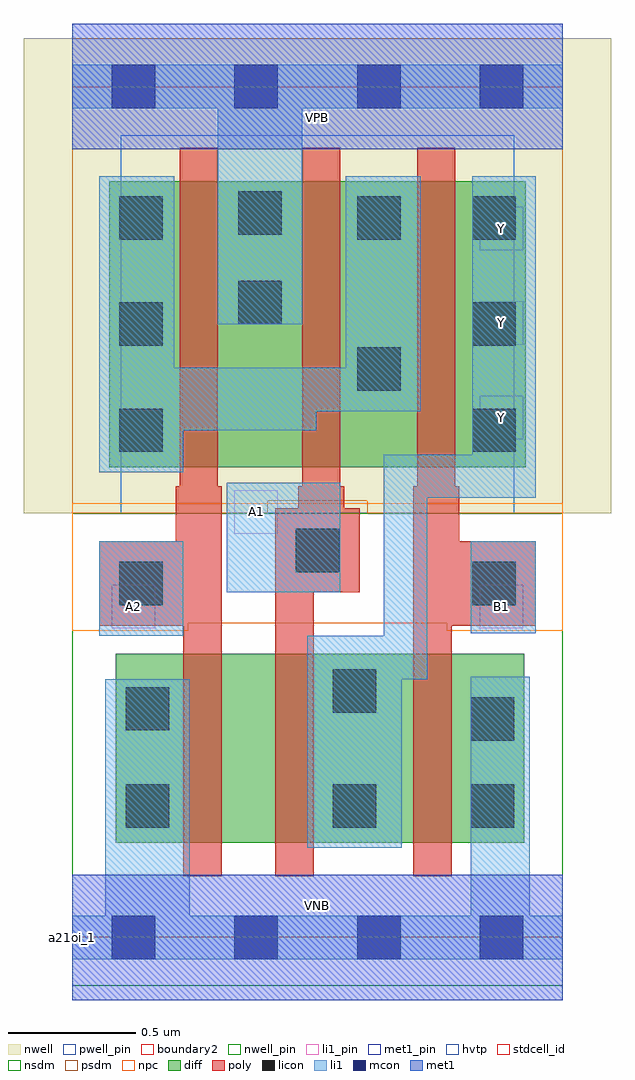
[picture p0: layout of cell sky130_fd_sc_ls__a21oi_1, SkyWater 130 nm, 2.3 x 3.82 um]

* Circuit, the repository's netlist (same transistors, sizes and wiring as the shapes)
* Copyright 2020 The SkyWater PDK Authors
*
* Licensed under the Apache License, Version 2.0 (the "License");
* you may not use this file except in compliance with the License.
* You may obtain a copy of the License at
*
*     https://www.apache.org/licenses/LICENSE-2.0
*
* Unless required by applicable law or agreed to in writing, software
* distributed under the License is distributed on an "AS IS" BASIS,
* WITHOUT WARRANTIES OR CONDITIONS OF ANY KIND, either express or implied.
* See the License for the specific language governing permissions and
* limitations under the License.
*
* SPDX-License-Identifier: Apache-2.0

.SUBCKT sky130_fd_sc_ls__a21oi_1 A1 A2 B1 VGND VNB VPB VPWR Y
*.PININFO A1:I A2:I B1:I VGND:I VNB:I VPB:I VPWR:I Y:O
MMPA0 pndA A1 VPWR VPB sky130_fd_pr__pfet_01v8_hvt m=1 w=1.12U l=0.15U mult=1 sa=0.265
+ sb=0.265 sd=0.28 area=0.063 perim=1.14
MMPA1 pndA A2 VPWR VPB sky130_fd_pr__pfet_01v8_hvt m=1 w=1.12U l=0.15U mult=1 sa=0.265
+ sb=0.265 sd=0.28 area=0.063 perim=1.14
MMPB0 Y B1 pndA VPB sky130_fd_pr__pfet_01v8_hvt m=1 w=1.12U l=0.15U mult=1 sa=0.265
+ sb=0.265 sd=0.28 area=0.063 perim=1.14
MMNA0 Y A1 sndA1 VNB sky130_fd_pr__nfet_01v8 m=1 w=0.74U l=0.15U mult=1 sa=0.265
+ sb=0.265 sd=0.28 area=0.063 perim=1.14
MMNA1 sndA1 A2 VGND VNB sky130_fd_pr__nfet_01v8 m=1 w=0.74U l=0.15U mult=1 sa=0.265
+ sb=0.265 sd=0.28 area=0.063 perim=1.14
MMNB0 Y B1 VGND VNB sky130_fd_pr__nfet_01v8 m=1 w=0.74U l=0.15U mult=1 sa=0.265
+ sb=0.265 sd=0.28 area=0.063 perim=1.14
.ENDS sky130_fd_sc_ls__a21oi_1

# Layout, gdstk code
import gdstk
lib = gdstk.Library(unit=1e-6, precision=1e-09)
def R(c, l, rs):  # rectangles x0, y0, x1, y1
    for r in rs: c.add(gdstk.rectangle(r[:2], r[2:], *l))
def A(c, l, x, y, w, h, nx, ny, dx, dy):  # array of equal rectangles
    R(c, l, [(x+i*dx, y+j*dy, x+i*dx+w, y+j*dy+h) for i in range(nx) for j in range(ny)])
def P(c, l, *ps):  # polygons
    for p in ps: c.add(gdstk.Polygon(p, *l))
nwell_pin = (64, 16)
nwell = (64, 20)
diff = (65, 20)
poly = (66, 20)
licon = (66, 44)
li1_pin = (67, 16)
li1 = (67, 20)
mcon = (67, 44)
met1_pin = (68, 16)
met1 = (68, 20)
hvtp = (78, 44)
stdcell_id = (81, 4)
nsdm = (93, 44)
psdm = (94, 20)
npc = (95, 20)
pwell_pin = (122, 16)
boundary2 = (236, 0)

sky130_fd_sc_ls__a21oi_1 = lib.new_cell('sky130_fd_sc_ls__a21oi_1')
R(sky130_fd_sc_ls__a21oi_1, nwell_pin, [(0,3.085,1.92,3.33)])
R(sky130_fd_sc_ls__a21oi_1, nwell, [(-0.19,1.66,2.11,3.52)])
R(sky130_fd_sc_ls__a21oi_1, diff, [(0.17,0.37,1.77,1.11), (0.145,1.84,1.775,2.96)])
P(sky130_fd_sc_ls__a21oi_1, poly, [(1.815,1.55),(1.515,1.55),(1.515,1.765),(1.5,1.765),(1.5,3.09),(1.35,3.09),(1.35,1.765),(1.335,1.765),(1.335,0.24),(1.485,0.24),(1.485,1.22),(1.815,1.22)],
  [(0.585,1.765),(0.57,1.765),(0.57,3.09),(0.42,3.09),(0.42,1.765),(0.405,1.765),(0.405,1.55),(0.105,1.55),(0.105,1.22),(0.435,1.22),(0.435,0.24),(0.585,0.24)],
  [(1.125,1.68),(1.065,1.68),(1.065,1.765),(1.05,1.765),(1.05,3.09),(0.9,3.09),(0.9,1.765),(0.885,1.765),(0.885,1.68),(0.795,1.68),(0.795,0.24),(0.945,0.24),(0.945,1.35),(1.125,1.35)])
A(sky130_fd_sc_ls__a21oi_1, licon, 0.185, 1.9, 0.17, 0.17, 1, 3, 0, 0.415)
A(sky130_fd_sc_ls__a21oi_1, licon, 1.565, 1.9, 0.17, 0.17, 1, 3, 0, 0.415)
R(sky130_fd_sc_ls__a21oi_1, licon, [(0.21,0.43,0.38,0.6), (1.02,0.43,1.19,0.6), (1.56,0.43,1.73,0.6), (1.56,0.77,1.73,0.94), (0.21,0.81,0.38,0.98), (1.02,0.88,1.19,1.05), (0.185,1.3,0.355,1.47), (1.565,1.3,1.735,1.47), (0.875,1.43,1.045,1.6), (1.115,2.14,1.285,2.31), (0.65,2.4,0.82,2.57), (1.115,2.73,1.285,2.9), (0.65,2.75,0.82,2.92)])
A(sky130_fd_sc_ls__a21oi_1, li1_pin, 1.595, 1.95, 0.17, 0.17, 1, 3, 0, 0.37)
R(sky130_fd_sc_ls__a21oi_1, li1_pin, [(0.155,1.21,0.325,1.38), (1.595,1.21,1.765,1.38), (0.635,1.58,0.805,1.75)])
R(sky130_fd_sc_ls__a21oi_1, li1, [(0.105,1.18,0.435,1.55), (1.56,1.19,1.815,1.55), (0.605,1.35,1.05,1.78)])
P(sky130_fd_sc_ls__a21oi_1, li1, [(0.57,2.4),(0.57,3.245),(0,3.245),(0,3.415),(1.92,3.415),(1.92,3.245),(0.9,3.245),(0.9,2.4)],
  [(0.13,0.085),(0.13,1.01),(0.46,1.01),(0.46,0.085),(1.56,0.085),(1.56,1.02),(1.79,1.02),(1.79,0.085),(1.92,0.085),(1.92,-0.085),(0,-0.085),(0,0.085)],
  [(1.565,1.89),(1.565,2.98),(1.815,2.98),(1.815,1.72),(1.39,1.72),(1.39,1.01),(1.29,1.01),(1.29,0.35),(0.92,0.35),(0.92,1.18),(1.22,1.18),(1.22,1.89)],
  [(1.365,2.98),(1.07,2.98),(1.07,2.23),(0.4,2.23),(0.4,2.98),(0.105,2.98),(0.105,1.82),(0.435,1.82),(0.435,1.985),(0.955,1.985),(0.955,2.06),(1.365,2.06)])
A(sky130_fd_sc_ls__a21oi_1, mcon, 0.155, -0.085, 0.17, 0.17, 4, 2, 0.48, 3.33)
R(sky130_fd_sc_ls__a21oi_1, met1_pin, [(0,0,1.92,0.245), (0,3.085,1.92,3.33)])
R(sky130_fd_sc_ls__a21oi_1, met1, [(0,-0.245,1.92,0.245), (0,3.085,1.92,3.575)])
R(sky130_fd_sc_ls__a21oi_1, hvtp, [(0.19,1.66,1.73,3.14)])
R(sky130_fd_sc_ls__a21oi_1, stdcell_id, [(0,0,1.92,3.33)])
R(sky130_fd_sc_ls__a21oi_1, nsdm, [(0,-0.19,1.92,1.66)])
P(sky130_fd_sc_ls__a21oi_1, psdm, [(1.92,3.52),(0,3.52),(0,1.66),(0.765,1.66),(0.765,1.71),(1.155,1.71),(1.155,1.66),(1.92,1.66)])
P(sky130_fd_sc_ls__a21oi_1, npc, [(1.92,1.7),(0,1.7),(0,1.2),(0.455,1.2),(0.455,1.23),(1.465,1.23),(1.465,1.2),(1.92,1.2)])
R(sky130_fd_sc_ls__a21oi_1, pwell_pin, [(0,0,1.92,0.245)])
R(sky130_fd_sc_ls__a21oi_1, boundary2, [(0,0,1.92,3.33)])
sky130_fd_sc_ls__a21oi_1.add(gdstk.Label('a21oi_1', (0,0), layer=83, texttype=44))
sky130_fd_sc_ls__a21oi_1.add(gdstk.Label('VNB', (0.96,0.123), layer=64, texttype=59))
sky130_fd_sc_ls__a21oi_1.add(gdstk.Label('VPB', (0.96,3.208), layer=64, texttype=5))
sky130_fd_sc_ls__a21oi_1.add(gdstk.Label('VPWR', (0.96,3.208), layer=68, texttype=5))
sky130_fd_sc_ls__a21oi_1.add(gdstk.Label('VGND', (0.96,0.123), layer=68, texttype=5))
sky130_fd_sc_ls__a21oi_1.add(gdstk.Label('B1', (1.68,1.295), layer=67, texttype=5))
sky130_fd_sc_ls__a21oi_1.add(gdstk.Label('Y', (1.68,2.035), layer=67, texttype=5))
sky130_fd_sc_ls__a21oi_1.add(gdstk.Label('Y', (1.68,2.405), layer=67, texttype=5))
sky130_fd_sc_ls__a21oi_1.add(gdstk.Label('Y', (1.68,2.775), layer=67, texttype=5))
sky130_fd_sc_ls__a21oi_1.add(gdstk.Label('A2', (0.24,1.295), layer=67, texttype=5))
sky130_fd_sc_ls__a21oi_1.add(gdstk.Label('A1', (0.72,1.665), layer=67, texttype=5))

lib.write_gds('sky130_fd_sc_ls__a21oi_1.gds')
